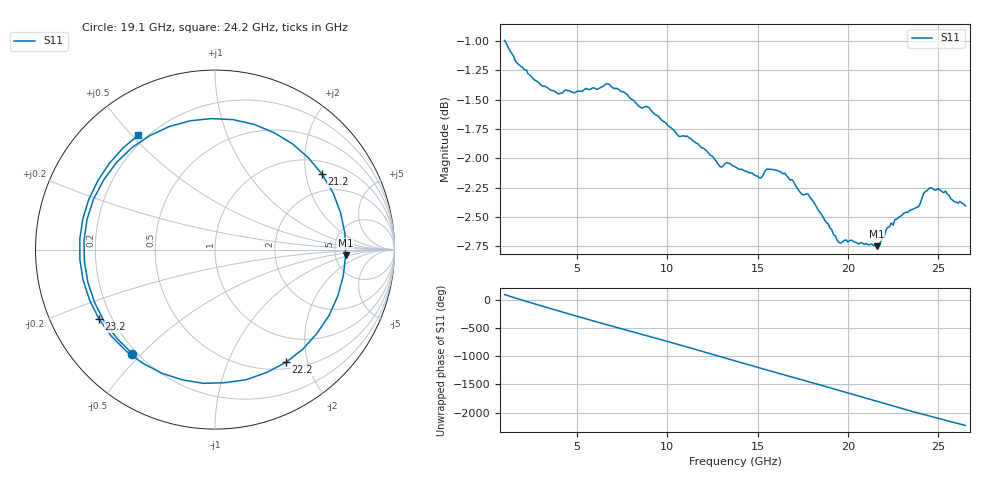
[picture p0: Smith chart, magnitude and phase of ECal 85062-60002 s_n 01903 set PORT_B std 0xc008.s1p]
!Created with skrf (http://scikit-rf.org).
# Hz S RI R 50.0
!freq ReS11 ImS11
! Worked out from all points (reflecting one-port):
!   256 points, 1 GHz to 26.5 GHz, reference 50 ohm
!   lowest |S11| = -2.8 dB at 21.6 GHz (marker M1), VSWR 6.37, Z = 313 - j41.1 ohm
!   phase of S11 starts at 101 deg and turns -2332 deg over the sweep
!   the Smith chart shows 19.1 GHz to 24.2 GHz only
!   S11 on the Smith chart (normalised r, x): 19.1 GHz: 0.18, -0.47; 21.2 GHz: 1.38, +2.48; 22.2 GHz: 0.59, -1.65; 23.2 GHz: 0.15, -0.27; 24.2 GHz: 0.17, +0.52
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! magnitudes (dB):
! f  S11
! 1 GHz  -1.0
! 1.6 GHz  -1.2
! 2.6 GHz  -1.3
! 4.2 GHz  -1.4
! 6.7 GHz  -1.4
! 7.4 GHz  -1.4
! 9 GHz  -1.6
! 10.6 GHz  -1.8
! 11.3 GHz  -1.8
! 12.9 GHz  -2.1
! 13.8 GHz  -2.1
! 15.1 GHz  -2.2
! 15.5 GHz  -2.1
! 16.1 GHz  -2.1
! 17 GHz  -2.2
! 17.8 GHz  -2.3
! 19.1 GHz  -2.6
! 19.5 GHz  -2.7
! 20.2 GHz  -2.7
! 21.2 GHz  -2.7
! 21.6 GHz  -2.8
! 22.2 GHz  -2.6
! 23.2 GHz  -2.5
! 23.4 GHz  -2.4
! 23.9 GHz  -2.4
! 24.2 GHz  -2.3
! 25 GHz  -2.3
! 26.5 GHz  -2.4
